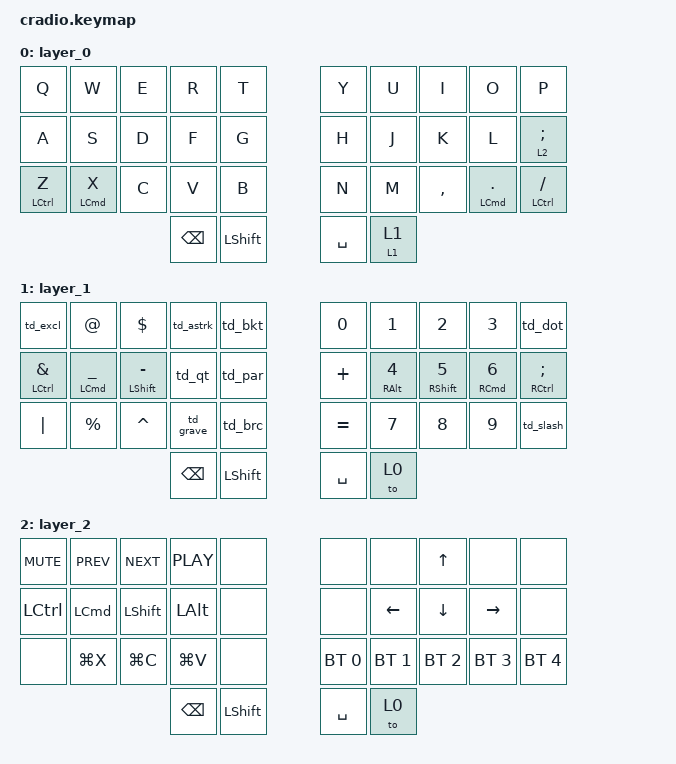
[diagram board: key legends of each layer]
#include <behaviors.dtsi>
#include <dt-bindings/zmk/keys.h>
#include <dt-bindings/zmk/bt.h>

#define L0 0
#define L1 1
#define L2 2

/ { 
  macros {
    excl_eq: excl_eq {
      label = "EXCL_EQ";
      compatible = "zmk,behavior-macro";
      #binding-cells = <0>;
      bindings = <&kp EXCL &kp EQUAL>;
    };
  };

  behaviors {
    lht: layer-hold-tap {
        compatible = "zmk,behavior-hold-tap";
        label = "LAYER_HOLD_TAP";
        #binding-cells = <2>;
        flavor = "hold-preferred";
        tapping-term-ms = <200>;
        bindings = <&mo>, <&to>;
    };

    td_grave: tap_dance_grave {
      compatible = "zmk,behavior-tap-dance";
      label = "TAP_DANCE_GRAVE";
      #binding-cells = <0>;
      tapping-term-ms = <200>;
      bindings = <&kp GRAVE>, <&kp TILDE>;
    };

    tds: tap_dance_s {
      compatible = "zmk,behavior-tap-dance";
      label = "TAP_DANCE_S";
      #binding-cells = <0>;
      tapping-term-ms = <150>;
      bindings = <&kp S>, <&kp DOLLAR>;
    };

    td_bkt: tap_dance_bkt {
      compatible = "zmk,behavior-tap-dance";
      label = "TAP_DANCE_BKT";
      #binding-cells = <0>;
      tapping-term-ms = <200>;
      bindings = <&kp LBKT>, <&kp RBKT>;
    };

    td_par: tap_dance_par {
      compatible = "zmk,behavior-tap-dance";
      label = "TAP_DANCE_PAR";
      #binding-cells = <0>;
      tapping-term-ms = <200>;
      bindings = <&kp LPAR>, <&kp RPAR>;
    };

    td_brc: tap_dance_brc {
      compatible = "zmk,behavior-tap-dance";
      label = "TAP_DANCE_BRC";
      #binding-cells = <0>;
      tapping-term-ms = <200>;
      bindings = <&kp LBRC>, <&kp RBRC>;
    };

    td_qt: tap_dance_qt {
      compatible = "zmk,behavior-tap-dance";
      label = "TAP_DANCE_QT";
      #binding-cells = <0>;
      tapping-term-ms = <200>;
      bindings = <&hm LALT SQT>, <&kp DQT>;
    };

    td_excl: tap_dance_excl {
      compatible = "zmk,behavior-tap-dance";
      label = "TAP_DANCE_EXCL";
      #binding-cells = <0>;
      tapping-term-ms = <200>;
      bindings = <&kp EXCL>, <&excl_eq>;
    };

    td_dot: td_dot {
      compatible = "zmk,behavior-tap-dance";
      label = "TAP_DANCE_DOT";
      #binding-cells = <0>;
      tapping-term-ms = <200>;
      bindings = <&kp DOT>, <&kp COMMA>;
    };

    td_slash: td_slash {
      compatible = "zmk,behavior-tap-dance";
      label = "TAP_DANCE_SLASH";
      #binding-cells = <0>;
      tapping-term-ms = <200>;
      bindings = <&kp SLASH>, <&kp BACKSLASH>;
    };

    td_astrk: td_astrk {
      compatible = "zmk,behavior-tap-dance";
      label = "TAP_DANCE_ASTRK";
      #binding-cells = <0>;
      tapping-term-ms = <200>;
      bindings = <&kp ASTRK>, <&kp HASH>;
    };

    hm: homerow_mods {
      compatible = "zmk,behavior-hold-tap";
      label = "HOMEROW_MODS";
      #binding-cells = <2>;
      tapping-term-ms = <200>;
      quick-tap-ms = <0>;
      flavor = "balanced";
      bindings = <&kp>, <&kp>;
    };
  };

  combos {
    compatible = "zmk,combos";

    tmux {
      timeout-ms = <20>;
      key-positions = <11 12>;
      bindings = <&kp LC(B)>;
    };

    escape_key {
      timeout-ms = <20>;
      key-positions = <12 13>;
      bindings = <&kp ESC>;
    };

    enter_key {
      timeout-ms = <20>;
      key-positions = <16 17>;
      bindings = <&kp ENTER>;
    };

    tab_key {
      timeout-ms = <20>;
      key-positions = <17 18>;
      bindings = <&kp TAB>;
    };

    lock_screen {
      timeout-ms = <20>;
      key-positions = <27 28>;
      bindings = <&kp LC(LG(Q))>;
      layers = <0>;
    };

    one_password {
      timeout-ms = <20>;
      key-positions = <28 29>;
      bindings = <&kp LS(LG(X))>;
      layers = <0>;
    };

    toggle_l2 {
      timeout-ms = <20>;
      key-positions = <18 19>;
      bindings = <&tog L2>;
    };
  };

  keymap {
    compatible = "zmk,keymap";

    layer_0 {
      bindings = <
        &kp Q        &kp W       &kp E  &kp R     &kp T           &kp Y       &kp U       &kp I      &kp O         &kp P
        &kp A        &kp S       &kp D  &kp F     &kp G           &kp H       &kp J       &kp K      &kp L         &lt L2 SEMI
        &hm LCTRL Z  &hm LCMD X  &kp C  &kp V     &kp B           &kp N       &kp M       &kp COMMA  &hm LCMD DOT  &hm LCTRL SLASH
                                        &kp BSPC  &kp LSHFT       &kp SPACE   &lht L1 L1
      >;
    };

    layer_1 {
      bindings = <
        &td_excl        &kp AT          &kp DOLLAR       &td_astrk  &td_bkt            &kp N0     &kp N1       &kp N2        &kp N3       &td_dot
        &hm LCTRL AMPS  &hm LCMD UNDER  &hm LSHFT MINUS  &td_qt     &td_par            &kp PLUS   &hm RALT N4  &hm RSHFT N5  &hm RCMD N6  &hm RCTRL SEMI
        &kp PIPE        &kp PRCNT       &kp CARET        &td_grave  &td_brc            &kp EQUAL  &kp N7       &kp N8        &kp N9       &td_slash
                                                         &kp BSPC   &kp LSHFT          &kp SPACE  &to L0
      >;
    };

    layer_2 {
      bindings = <
        &kp C_MUTE  &kp C_PREV  &kp C_NEXT  &kp C_PLAY  &none            &none         &none         &kp UP        &none         &none
        &kp LCTRL   &kp LCMD    &kp LSHFT   &kp LALT    &none            &none         &kp LEFT      &kp DOWN      &kp RIGHT     &none
        &none       &kp LG(X)   &kp LG(C)   &kp LG(V)   &none            &bt BT_SEL 0  &bt BT_SEL 1  &bt BT_SEL 2  &bt BT_SEL 3  &bt BT_SEL 4
                                            &kp BSPC    &kp LSHFT        &kp SPACE     &to L0
      >;
    };
  };
};
